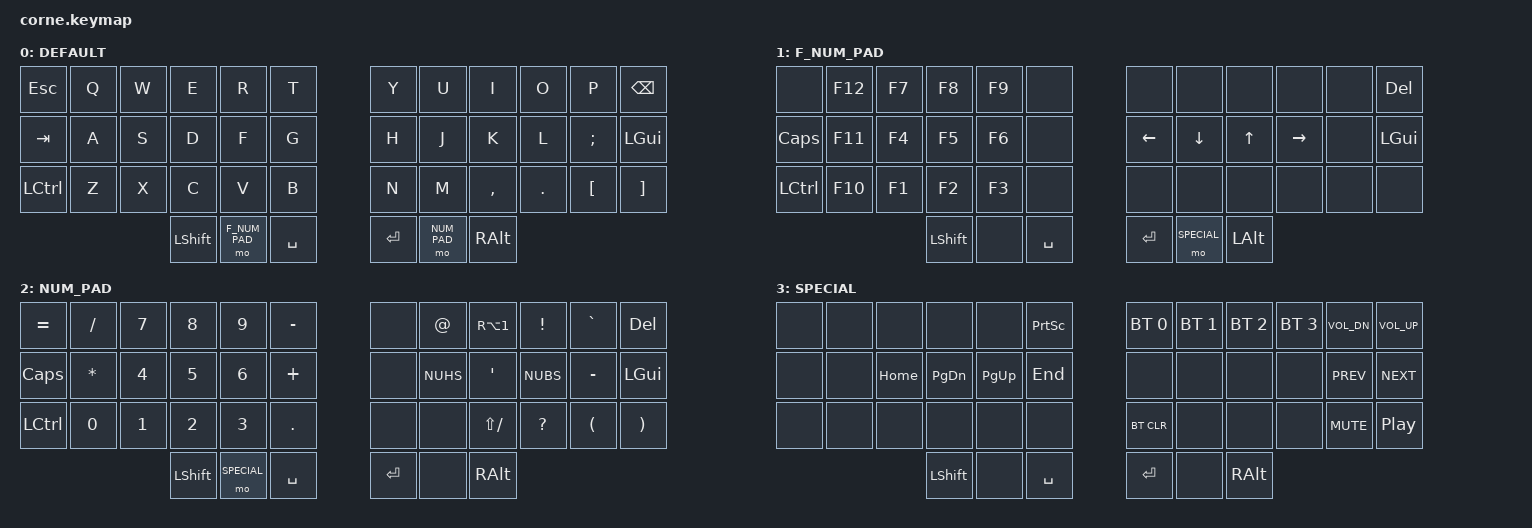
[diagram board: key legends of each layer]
/*
 * Copyright (c) 2020 The ZMK Contributors
 *
 * SPDX-License-Identifier: MIT
 *
 * Author: Javier de la Peña
 */

#include <behaviors.dtsi>
#include <dt-bindings/zmk/keys.h>
#include <dt-bindings/zmk/bt.h>
#include <dt-bindings/zmk/mouse.h>

#define DEFAULT 0
#define F_NUM_PAD 1
#define NUM_PAD 2
#define SPECIAL 3

/ {
        keymap {
                compatible = "zmk,keymap";

                default_layer {

						label = "DEFAULT";
                        bindings = <
   	//,-----------------------------------------------------------------.                        ,-----------------------------------------------------------------.
		  &kp ESC      &kp Q 	  &kp W 	 &kp E 		&kp R 	   &kp T   			        		   &kp Y 	  &kp U  	 &kp I     	&kp O  	   &kp P   &kp BSPC
	//|----------+----------+----------+----------+----------+----------|                        |----------+----------+----------+----------+----------+----------|
		  &kp TAB 	   &kp A 	  &kp S 	 &kp D 		&kp F 	   &kp G   	 					  	   &kp H 	  &kp J  	 &kp K      &kp L  	&kp SEMI   &kp LGUI
	//|----------+----------+----------+----------+----------+----------|                        |----------+----------+----------+----------+----------+----------|
   		&kp LCTRL      &kp Z 	  &kp X 	 &kp C 		&kp V 	   &kp B   							   &kp N 	  &kp M  &kp COMMA 	  &kp DOT 	&kp LBKT   &kp RBKT
	//|----------+----------+----------+----------+----------+----------+----------|  |----------+----------+----------+----------+----------+----------+----------|
                  								  &kp LSHFT &mo F_NUM_PAD &kp SPACE    &kp ENTER &mo NUM_PAD   &kp RALT
												//`--------------------------------'  `--------------------------------'
                        >;
                };

                f_num_pad_layer {

						label = "F_NUM_PAD";
                        bindings = <
   	//,-----------------------------------------------------------------.                        ,-----------------------------------------------------------------.
	   		&none 	 &kp F12 	 &kp F7 	&kp F8 	   &kp F9	   &none   							   &none	  &none		 &none		&none	   &none    &kp DEL
	//|----------+----------+----------+----------+----------+----------|                        |----------+----------+----------+----------+----------+----------|
		 &kp CAPS  	 &kp F11 	 &kp F4 	&kp F5 	   &kp F6	   &none   	 					    &kp LEFT   &kp DOWN  	&kp UP 	&kp RIGHT	   &none   &kp LGUI
	//|----------+----------+----------+----------+----------+----------|                        |----------+----------+----------+----------+----------+----------|
   		&kp LCTRL    &kp F10 	 &kp F1 	&kp F2 	   &kp F3	   &none  							   &none	  &none		 &none		&none	   &none	  &none
	//|----------+----------+----------+----------+----------+----------+----------|  |----------+----------+----------+----------+----------+----------+----------|
                  								  	&kp LSHFT 	   &none  &kp SPACE    &kp ENTER &mo SPECIAL   &kp LALT
												//`--------------------------------'  `--------------------------------'
                        >;
                };

                num_pad_layer {
						label = "NUM_PAD";
                        bindings = <
   	//,-----------------------------------------------------------------.                        ,-----------------------------------------------------------------.
		&kp EQUAL  &kp SLASH 	 &kp N7 	&kp N8 	   &kp N9  &kp MINUS   			       			   &none	 &kp AT	&kp RA(N1)	 &kp EXCL  &kp GRAVE	&kp DEL
	//|----------+----------+----------+----------+----------+----------|                        |----------+----------+----------+----------+----------+----------|
		 &kp CAPS 	&kp STAR 	 &kp N4 	&kp N5 	   &kp N6 	&kp PLUS   	 						   &none   &kp NUHS	  &kp APOS	 &kp NUBS  &kp MINUS   &kp LGUI
	//|----------+----------+----------+----------+----------+----------|                        |----------+----------+----------+----------+----------+----------|
        &kp LCTRL     &kp N0 	 &kp N1 	&kp N2 	   &kp N3 	 &kp DOT   							   &none   &none &kp LS(SLASH) &kp QMARK	&kp LPAR   &kp RPAR
	//|----------+----------+----------+----------+----------+----------+----------|  |----------+----------+----------+----------+----------+----------+----------|
                  								   &kp LSHFT &mo SPECIAL  &kp SPACE    	&kp ENTER 	   &none   &kp RALT
												//`--------------------------------'  `--------------------------------'
                        >;
                };


                special_layer {
						label = "SPECIAL";
                        bindings = <
   	//,-----------------------------------------------------------------.                        ,-----------------------------------------------------------------.
			&none	   &none	  &none		 &none		&none  &kp PSCRN			  &bt BT_SEL 0 &bt BT_SEL 1 &bt BT_SEL 2 &bt BT_SEL 3 &kp C_VOL_DN &kp C_VOL_UP
	//|----------+----------+----------+----------+----------+----------|                        |----------+----------+----------+----------+----------+----------|
			&none	   &none   &kp HOME  &kp PG_DN 	&kp PG_UP 	 &kp END   	 						   &none	  &none		 &none		&none &kp C_PREV &kp C_NEXT
	//|----------+----------+----------+----------+----------+----------|                        |----------+----------+----------+----------+----------+----------|
			&none	   &none	  &none		 &none		&none	   &none   						  &bt BT_CLR	  &none		 &none		&none &kp C_MUTE   &kp C_PP
	//|----------+----------+----------+----------+----------+----------+----------|  |----------+----------+----------+----------+----------+----------+----------|
                  								   	&kp LSHFT      &none  &kp SPACE   	&kp ENTER 	   &none   &kp RALT
												//`--------------------------------'  `--------------------------------'
                        >;
                };
        };
};
